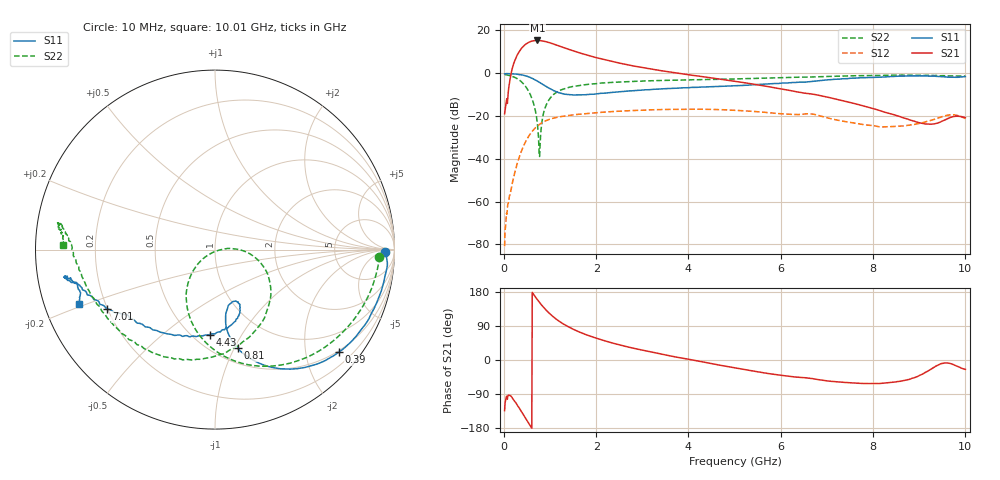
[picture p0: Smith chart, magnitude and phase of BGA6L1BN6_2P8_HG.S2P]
!Agilent Technologies,E5071C,MY46317100,A.11.08
!Date: Wed Jun 03 12:59:18 2015
!Data & Calibration Information:
!Freq	S11:SOLT2(ON)	S21:SOLT2(ON)	S12:SOLT2(ON)	S22:SOLT2(ON)
!PortZ  Port1:50+j0  Port2:50+j0
!Above PortZ is port z conversion or system Z0 setting when saving the data.
!When reading, reference impedance value at option line is always used.
# Hz S RI R 50
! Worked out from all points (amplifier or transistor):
!   1001 points, 10 MHz to 10.01 GHz, reference 50 ohm
!   highest |S21| = 15.1 dB at 720 MHz (marker M1)
!   |S21| within 3 dB of that: 405 MHz to 1.248 GHz (843.5 MHz wide, 102 % of centre)
!   unconditionally stable (mu >= 1): start of sweep to end of sweep
!   at 1.67 GHz: K = 1.23, MAG = 11.3 dB, |S12| = -19.2 dB
!   at 5.01 GHz: K = 2.31, MAG = 0.3 dB, |S12| = -17.4 dB
!   at 10.01 GHz: K = 5.49, MAG = -10.1 dB, |S12| = -21.3 dB
!   lowest NFmin = 0.49 dB at 900 MHz
!   S11 on the Smith chart (normalised r, x): 10 MHz: 36, -10; 390 MHz: 0.47, -2.71; 810 MHz: 0.64, -1.03; 4.43 GHz: 0.60, -0.74; 7.01 GHz: 0.20, -0.25; 10.01 GHz: 0.10, -0.19
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1e7  0.9494 -0.0145  -0.0764 -0.0808  -3.39e-05 8.49e-05  0.9156 -0.0385
1e8  0.9468 -0.1483  -0.024 -0.4554  -0.000604 0.00076  0.8101 -0.3376
2e8  0.8945 -0.3105  -0.3819 -1.517  -0.00308 0.00162  0.586 -0.5608
3.1e8  0.7942 -0.4728  -1.603 -2.421  -0.00873 0.00362  0.2708 -0.65
3.9e8  0.6905 -0.5709  -2.929 -2.551  -0.0146 0.00771  0.0566 -0.5968
4.7e8  0.5674 -0.6381  -4.237 -2.006  -0.0207 0.0149  -0.0951 -0.4652
5.6e8  0.4205 -0.6659  -5.256 -0.722  -0.0254 0.0268  -0.1595 -0.2837
6.4e8  0.3014 -0.6523  -5.576 0.682  -0.0266 0.0393  -0.1323 -0.1385
7.2e8  0.2043 -0.6113  -5.342 2.004  -0.0239 0.0524  -0.0536 -0.0406
8.1e8  0.1257 -0.5489  -4.62 3.174  -0.0171 0.0655  0.0583 0.00454
9.4e8  0.0697 -0.4567  -3.222 4.113  -0.0031 0.0795  0.2028 -0.029
1.08e9  0.0589 -0.3793  -1.805 4.322  0.0133 0.0877  0.291 -0.131
1.34e9  0.0785 -0.3068  -0.0832 3.72  0.0387 0.0918  0.2957 -0.3221
1.68e9  0.1125 -0.2871  0.8992 2.69  0.063 0.0903  0.199 -0.4799
2.41e9  0.1388 -0.3259  1.307 1.211  0.0991 0.0787  -0.044 -0.6036
3.35e9  0.104 -0.4066  1.1 0.3364  0.1279 0.0552  -0.304 -0.5899
4.43e9  -0.0286 -0.4731  0.7762 -0.1094  0.1404 0.019  -0.553 -0.4332
5.01e9  -0.1389 -0.4855  0.5951 -0.2252  0.1342 0.000238  -0.6542 -0.308
6.68e9  -0.515 -0.3596  0.2109 -0.2418  0.1072 -0.0255  -0.8023 0.0298
7.01e9  -0.6041 -0.3294  0.1565 -0.2244  0.0852 -0.0287  -0.8238 0.069
8.35e9  -0.7972 -0.183  0.0577 -0.0985  0.0549 0.0107  -0.867 0.1455
1.001e10  -0.759 -0.3049  0.0824 -0.0383  0.0849 0.0154  -0.8443 0.0233
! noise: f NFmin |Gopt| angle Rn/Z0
7e+08  0.5594  0.5286  44.05  0.13
7.5e+08  0.547  0.5096  46.3  0.132
8e+08  0.5193  0.4955  48.62  0.1255
9e+08  0.4859  0.5053  53.58  0.1209
9.5e+08  0.4909  0.5044  55.79  0.1215
1e+09  0.5107  0.4934  58.12  0.1198
1.2e+09  0.5729  0.462  67.39  0.1251
1.3e+09  0.5789  0.4901  71.99  0.1223
1.4e+09  0.6359  0.4527  75.81  0.1222
1.6e+09  0.7375  0.4285  80.78  0.1276
